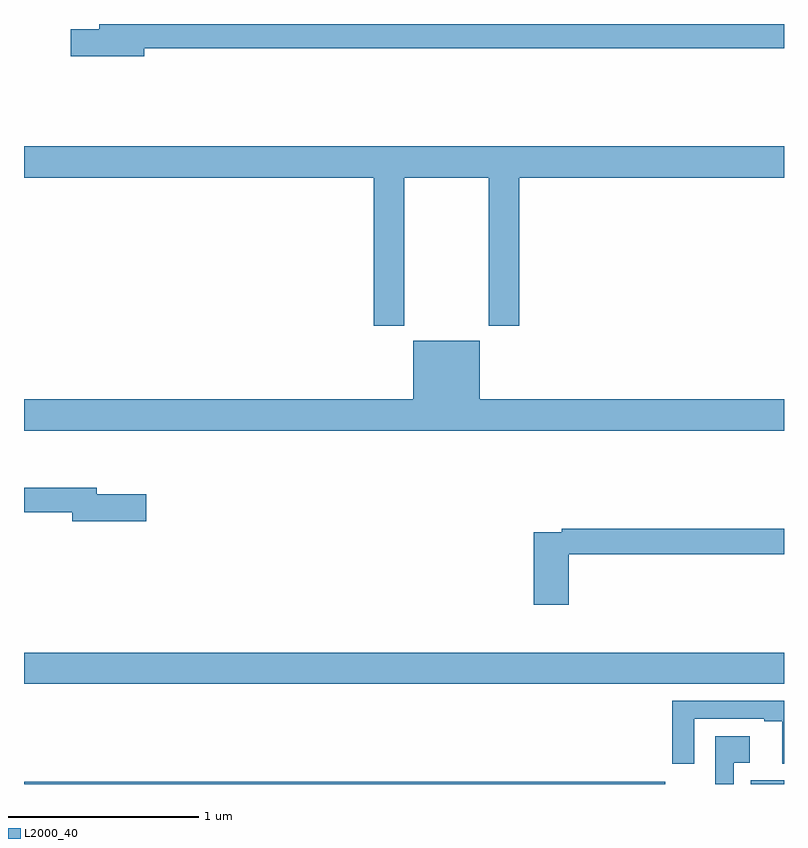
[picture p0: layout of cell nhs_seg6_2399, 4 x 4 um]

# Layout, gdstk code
import gdstk
lib = gdstk.Library(unit=1e-6, precision=1e-09)
def R(c, l, rs):  # rectangles x0, y0, x1, y1
    for r in rs: c.add(gdstk.rectangle(r[:2], r[2:], *l))
def P(c, l, *ps):  # polygons
    for p in ps: c.add(gdstk.Polygon(p, *l))
L2000_40 = (2000, 40)

nhs_seg6_2399 = lib.new_cell('nhs_seg6_2399')
R(nhs_seg6_2399, L2000_40, [(255,921.5,258.374,921.512), (258.824,921.5,259,921.52), (255,922.028,259,922.192)])
P(nhs_seg6_2399, L2000_40, [(255.634,925.372),(259,925.372),(259,925.5),(255.395,925.5),(255.395,925.472),(255.246,925.472),(255.246,925.33),(255.634,925.33)],
  [(257.001,924.692),(257.446,924.692),(257.446,923.913),(257.606,923.913),(257.606,924.692),(259,924.692),(259,924.856),(255,924.856),(255,924.692),(256.841,924.692),(256.841,923.913),(257.001,923.913)],
  [(259,923.524),(257.398,923.524),(257.398,923.833),(257.048,923.833),(257.048,923.524),(255,923.524),(255,923.36),(259,923.36)],
  [(255.643,923.025),(255.382,923.025),(255.382,923.059),(255,923.059),(255,922.93),(255.254,922.93),(255.254,922.883),(255.643,922.883)],
  [(257.867,922.708),(259,922.708),(259,922.844),(257.83,922.844),(257.83,922.824),(257.684,922.824),(257.684,922.443),(257.867,922.443)],
  [(258.528,921.843),(258.896,921.843),(258.896,921.831),(258.992,921.831),(258.992,921.606),(259,921.606),(259,921.939),(258.412,921.939),(258.412,921.606),(258.528,921.606)],
  [(258.735,921.611),(258.82,921.611),(258.82,921.751),(258.639,921.751),(258.639,921.5),(258.735,921.5)])

lib.write_gds('nhs_seg6_2399.gds')
